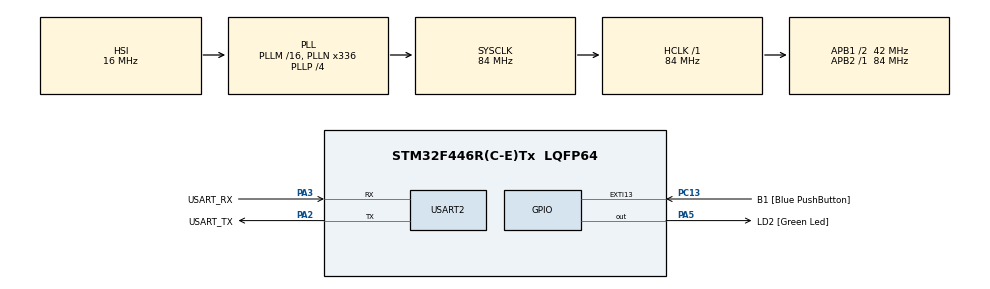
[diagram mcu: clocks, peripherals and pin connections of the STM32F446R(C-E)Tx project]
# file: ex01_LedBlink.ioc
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Mcu.Family=STM32F4
Mcu.Name=STM32F446R(C-E)Tx
Mcu.Package=LQFP64
NVIC.PriorityGroup=NVIC_PRIORITYGROUP_0
PA13.GPIO_Label=TMS
PA13.Mode=Serial_Wire
PA13.Signal=SYS_JTMS-SWDIO
PA14.GPIO_Label=TCK
PA14.Mode=Serial_Wire
PA14.Signal=SYS_JTCK-SWCLK
PA2.GPIO_Label=USART_TX
PA2.Mode=Asynchronous
PA2.Signal=USART2_TX
PA3.GPIO_Label=USART_RX
PA3.Mode=Asynchronous
PA3.Signal=USART2_RX
PA5.GPIO_Label=LD2 [Green Led]
PA5.Signal=GPIO_Output
PB3.GPIO_Label=SWO
PB3.Signal=SYS_JTDO-SWO
PC13.GPIO_Label=B1 [Blue PushButton]
PC13.GPIO_ModeDefaultEXTI=GPIO_MODE_IT_FALLING
PC13.Signal=GPXTI13
PC14-OSC32_IN.Mode=LSE-External-Oscillator
PC14-OSC32_IN.Signal=RCC_OSC32_IN
PC15-OSC32_OUT.Mode=LSE-External-Oscillator
PC15-OSC32_OUT.Signal=RCC_OSC32_OUT
PH0-OSC_IN.Mode=HSE-External-Oscillator
PH0-OSC_IN.Signal=RCC_OSC_IN
PH1-OSC_OUT.Mode=HSE-External-Oscillator
PH1-OSC_OUT.Signal=RCC_OSC_OUT
ProjectManager.HeapSize=0x200
ProjectManager.StackSize=0x400
ProjectManager.TargetToolchain=STM32CubeIDE
RCC.48MHZClocksFreq_Value=84000000
RCC.AHBFreq_Value=84000000
RCC.APB1CLKDivider=RCC_HCLK_DIV2
RCC.APB1Freq_Value=42000000
RCC.APB1TimFreq_Value=84000000
RCC.APB2Freq_Value=84000000
RCC.APB2TimFreq_Value=84000000
RCC.CortexFreq_Value=84000000
RCC.FLatency-AdvancedSettings=FLASH_LATENCY_2
RCC.HCLKFreq_Value=84000000
RCC.HSE_VALUE=8000000
RCC.HSI_VALUE=16000000
RCC.PLLN=336
RCC.PLLP=RCC_PLLP_DIV4
RCC.SYSCLKFreq_VALUE=84000000
RCC.SYSCLKSource=RCC_SYSCLKSOURCE_PLLCLK
RCC.USBFreq_Value=168000000
RCC.VCOOutputFreq_Value=336000000
USART2.VirtualMode=VM_ASYNC
board=NUCLEO-F446RE

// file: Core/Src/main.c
/* USER CODE BEGIN Header */
/**
  ******************************************************************************
  * @file           : main.c
  * @brief          : Main program body
  ******************************************************************************
  * @attention
  *
  * Copyright (c) 2022 STMicroelectronics.
  * All rights reserved.
  *
  * This software is licensed under terms that can be found in the LICENSE file
  * in the root directory of this software component.
  * If no LICENSE file comes with this software, it is provided AS-IS.
  *
  ******************************************************************************
  */
/* USER CODE END Header */
#include "main.h"

UART_HandleTypeDef huart2;

void SystemClock_Config(void);
static void MX_GPIO_Init(void);
static void MX_USART2_UART_Init(void);
/* USER CODE BEGIN PFP */
void GPIOA_5_inicializa(void);
void GPIOC_13_inicializa(void);
void GPIOC_13_inicializaComHAL(void);
/* USER CODE END PFP */

int main(void)
{

  /* MCU Configuration--------------------------------------------------------*/

  /* Reset of all peripherals, Initializes the Flash interface and the Systick. */
  HAL_Init();

  /* Configure the system clock */
  SystemClock_Config();

  /* Initialize all configured peripherals */
  MX_GPIO_Init();
  MX_USART2_UART_Init();
  /* USER CODE BEGIN 2 */
  //GPIOA_5_inicializa();
  //GPIOC_13_inicializa();
  //GPIOC_13_inicializaComHAL();
  /* USER CODE END 2 */

  /* Infinite loop */
  while (1)
  {

    /* USER CODE BEGIN 3 */

	  /**
	   * Via Registradores
	   */
	  if((GPIOC->IDR & GPIO_IDR_ID13) == 0)
	  {
		  GPIOA->ODR = GPIO_ODR_OD5;
		  HAL_Delay(200);
		  GPIOA->ODR = ~GPIO_ODR_OD5;
		  HAL_Delay(800);
	  }

	  /**
	   * Via HAL
	   */
	  if(HAL_GPIO_ReadPin(B1_GPIO_Port, B1_Pin) == GPIO_PIN_RESET)
	  	  {
	  		  HAL_GPIO_WritePin(LD2_GPIO_Port, LD2_Pin, GPIO_PIN_SET);
	  		  HAL_Delay(250);
	  		  HAL_GPIO_WritePin(LD2_GPIO_Port, LD2_Pin, GPIO_PIN_RESET);
	  		  HAL_Delay(250);
	  	  }
  }
  /* USER CODE END 3 */
}

void SystemClock_Config(void)
{
  RCC_OscInitTypeDef RCC_OscInitStruct = {0};
  RCC_ClkInitTypeDef RCC_ClkInitStruct = {0};

  /** Configure the main internal regulator output voltage
  */
  __HAL_RCC_PWR_CLK_ENABLE();
  __HAL_PWR_VOLTAGESCALING_CONFIG(PWR_REGULATOR_VOLTAGE_SCALE3);

  /** Initializes the RCC Oscillators according to the specified parameters
  * in the RCC_OscInitTypeDef structure.
  */
  RCC_OscInitStruct.OscillatorType = RCC_OSCILLATORTYPE_HSI;
  RCC_OscInitStruct.HSIState = RCC_HSI_ON;
  RCC_OscInitStruct.HSICalibrationValue = RCC_HSICALIBRATION_DEFAULT;
  RCC_OscInitStruct.PLL.PLLState = RCC_PLL_ON;
  RCC_OscInitStruct.PLL.PLLSource = RCC_PLLSOURCE_HSI;
  RCC_OscInitStruct.PLL.PLLM = 16;
  RCC_OscInitStruct.PLL.PLLN = 336;
  RCC_OscInitStruct.PLL.PLLP = RCC_PLLP_DIV4;
  RCC_OscInitStruct.PLL.PLLQ = 2;
  RCC_OscInitStruct.PLL.PLLR = 2;
  if (HAL_RCC_OscConfig(&RCC_OscInitStruct) != HAL_OK)
  {
    Error_Handler();
  }

  /** Initializes the CPU, AHB and APB buses clocks
  */
  RCC_ClkInitStruct.ClockType = RCC_CLOCKTYPE_HCLK|RCC_CLOCKTYPE_SYSCLK
                              |RCC_CLOCKTYPE_PCLK1|RCC_CLOCKTYPE_PCLK2;
  RCC_ClkInitStruct.SYSCLKSource = RCC_SYSCLKSOURCE_PLLCLK;
  RCC_ClkInitStruct.AHBCLKDivider = RCC_SYSCLK_DIV1;
  RCC_ClkInitStruct.APB1CLKDivider = RCC_HCLK_DIV2;
  RCC_ClkInitStruct.APB2CLKDivider = RCC_HCLK_DIV1;

  if (HAL_RCC_ClockConfig(&RCC_ClkInitStruct, FLASH_LATENCY_2) != HAL_OK)
  {
    Error_Handler();
  }
}

static void MX_USART2_UART_Init(void)
{

  huart2.Instance = USART2;
  huart2.Init.BaudRate = 115200;
  huart2.Init.WordLength = UART_WORDLENGTH_8B;
  huart2.Init.StopBits = UART_STOPBITS_1;
  huart2.Init.Parity = UART_PARITY_NONE;
  huart2.Init.Mode = UART_MODE_TX_RX;
  huart2.Init.HwFlowCtl = UART_HWCONTROL_NONE;
  huart2.Init.OverSampling = UART_OVERSAMPLING_16;
  if (HAL_UART_Init(&huart2) != HAL_OK)
  {
    Error_Handler();
  }

}

static void MX_GPIO_Init(void)
{
  GPIO_InitTypeDef GPIO_InitStruct = {0};

  /* GPIO Ports Clock Enable */
  __HAL_RCC_GPIOC_CLK_ENABLE();
  __HAL_RCC_GPIOH_CLK_ENABLE();
  __HAL_RCC_GPIOA_CLK_ENABLE();
  __HAL_RCC_GPIOB_CLK_ENABLE();

  /*Configure GPIO pin Output Level */
  HAL_GPIO_WritePin(LD2_GPIO_Port, LD2_Pin, GPIO_PIN_RESET);

  /*Configure GPIO pin : B1_Pin */
  GPIO_InitStruct.Pin = B1_Pin;
  GPIO_InitStruct.Mode = GPIO_MODE_IT_FALLING;
  GPIO_InitStruct.Pull = GPIO_NOPULL;
  HAL_GPIO_Init(B1_GPIO_Port, &GPIO_InitStruct);

  /*Configure GPIO pin : LD2_Pin */
  GPIO_InitStruct.Pin = LD2_Pin;
  GPIO_InitStruct.Mode = GPIO_MODE_OUTPUT_PP;
  GPIO_InitStruct.Pull = GPIO_NOPULL;
  GPIO_InitStruct.Speed = GPIO_SPEED_FREQ_LOW;
  HAL_GPIO_Init(LD2_GPIO_Port, &GPIO_InitStruct);

}

/* USER CODE BEGIN 4 */

/**
 * @brief	Inicializa o PORTA.5 (led) via REGISTRADORES com as máscaras
 * @retval 	None
 */
void GPIOA_5_inicializa(void)
{
	uint32_t tmpreg = 0;
	RCC->AHB1ENR |= RCC_AHB1ENR_GPIOAEN; //Habilita o clock do PORTA
	tmpreg = RCC->AHB1ENR; //Aguarda estabilizar
	GPIOA->MODER = (GPIOA->MODER & ~GPIO_MODER_MODE5_Msk) | GPIO_MODER_MODE5_0;//M. saída (01)
	GPIOA->OTYPER = (GPIOA->OTYPER & ~GPIO_OTYPER_OT5_Msk); //Tipo push-pull (0)
	GPIOA->OSPEEDR = (GPIOA->OSPEEDR & ~GPIO_OSPEEDR_OSPEED5_Msk) | GPIO_OSPEEDER_OSPEEDR5_1; //Velocidade fast (10)
	GPIOA->PUPDR = (GPIOA->PUPDR & ~GPIO_PUPDR_PUPD5_Msk); //Sem resistores internos (00)
	//GPIOA->ODR = (GPIOA->ODR & ~GPIO_ODR_OD5_Msk); //Estado inicial '0'
	GPIOA->BSRR = GPIO_BSRR_BR5; //Estado inicial resetado '0’
}

/**
 * @brief 	Inicializa o PORTA.5 (led) via REGISTRADORES com rotação
 * @retval	None
 */
//void GPIOA_5_inicializa(void)
//{
//	uint32_t tmpreg = 0;
//	RCC->AHB1ENR |= 0x01; //Habilita o clock do PORTA
//	tmpreg = RCC->AHB1ENR; //Aguarda estabilizar
//	GPIOA->MODER = (GPIOA->MODER & ~(0x3<<(2*5))) | (0x1<<(2*5));//Modo saída (01)
//	GPIOA->OTYPER = (GPIOA->OTYPER & ~0x1<<5); //Tipo push-pull (0)
//	GPIOA->OSPEEDR = (GPIOA->OSPEEDR & ~(0x3<<(2*5))) | (0x2<<(2*5)); //Velocidade fast (10)
//	GPIOA->PUPDR = (GPIOA->PUPDR & ~(0x3<<(2*5))); //Sem resistores internos (00)
//	//GPIOA->ODR = (GPIOA->ODR & ~0x1<<5); //Estado inicial '0’
//	GPIOA->BSRR = 0x1<<(5+16); //Estado inicial resetado '0’
//}

/**
 * @brief	Inicializa o PORTC.13 via REGISTRADORES (botão)
 */
void GPIOC_13_inicializa(void)
{
	uint32_t tmpreg = 0;
	RCC->AHB1ENR |= RCC_AHB1ENR_GPIOCEN; //Habilita o clock do PORTC
	tmpreg = RCC->AHB1ENR; //Aguarda estabilizar
	GPIOC->MODER = (GPIOC->MODER & ~GPIO_MODER_MODE13_Msk);//M. entrada (00)
	GPIOC->PUPDR = (GPIOC->PUPDR & ~GPIO_PUPDR_PUPD13_Msk); //Sem resistores internos (00)
}

/**
 * @brief	Inicializa o PORTC.13 via HAL (botão)
 */
void GPIOC_13_inicializaComHAL(void)
{
	GPIO_InitTypeDef GPIO_InitStruct = {0}; //Cria estrutura de inicialização de GPIO
	__HAL_RCC_GPIOC_CLK_ENABLE(); //Inicializa GPIOC

	//Parametriza a estrutura de inicialização para o pino 13
	GPIO_InitStruct.Pin = GPIO_PIN_13;
	GPIO_InitStruct.Mode = GPIO_MODE_INPUT;
	GPIO_InitStruct.Pull = GPIO_NOPULL;

	HAL_GPIO_Init(GPIOC, &GPIO_InitStruct); //Inicializa pino 13
}

/* USER CODE END 4 */

void Error_Handler(void)
{
  __disable_irq();
  while (1)
  {
  }
}
